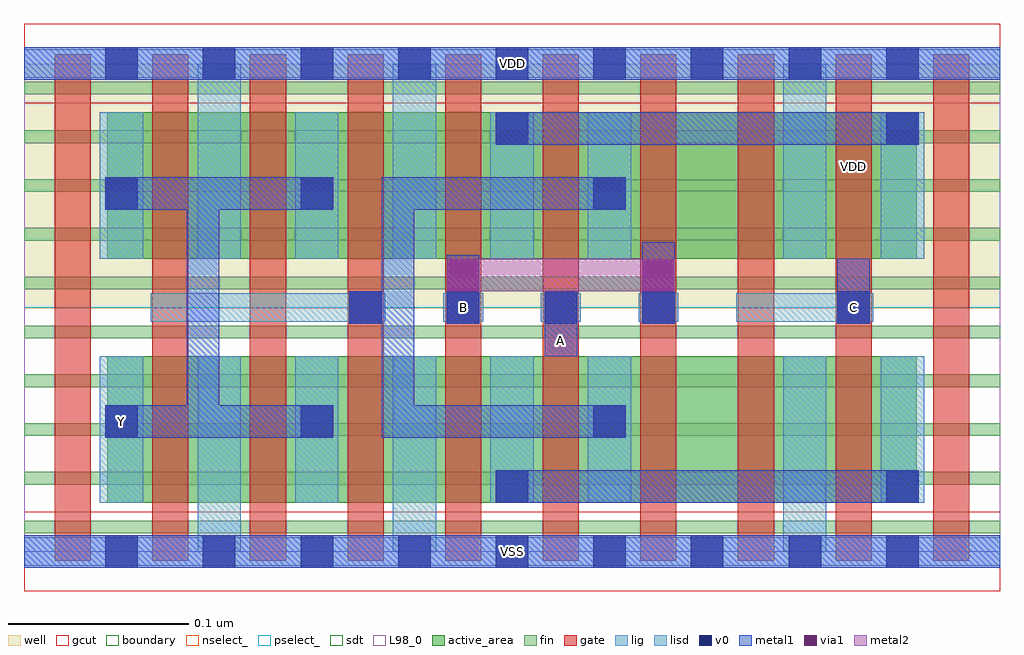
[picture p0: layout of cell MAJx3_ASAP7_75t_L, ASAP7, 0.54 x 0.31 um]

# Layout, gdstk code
import gdstk
lib = gdstk.Library(unit=1e-6, precision=2.5e-10)
def R(c, l, rs):  # rectangles x0, y0, x1, y1
    for r in rs: c.add(gdstk.rectangle(r[:2], r[2:], *l))
def A(c, l, x, y, w, h, nx, ny, dx, dy):  # array of equal rectangles
    R(c, l, [(x+i*dx, y+j*dy, x+i*dx+w, y+j*dy+h) for i in range(nx) for j in range(ny)])
def P(c, l, *ps):  # polygons
    for p in ps: c.add(gdstk.Polygon(p, *l))
well = (1, 0)
fin = (2, 0)
gate = (7, 0)
gcut = (10, 0)
active_area = (11, 0)
nselect_ = (12, 0)
pselect_ = (13, 0)
lig = (16, 0)
lisd = (17, 0)
v0 = (18, 0)
metal1 = (19, 0)
metal2 = (20, 0)
via1 = (21, 0)
sdt = (88, 0)
L98_0 = (98, 0)
boundary = (100, 0)

majx3_asap7_75t_l = lib.new_cell('MAJx3_ASAP7_75t_L')
R(majx3_asap7_75t_l, well, [(0,0.135,0.54,0.27)])
A(majx3_asap7_75t_l, fin, 0, 0.01, 0.54, 0.007, 1, 10, 0, 0.027)
A(majx3_asap7_75t_l, gate, 0.017, -0.005, 0.02, 0.28, 10, 1, 0.054, 0)
R(majx3_asap7_75t_l, gcut, [(0,-0.022,0.54,0.022), (0,0.248,0.54,0.292)])
R(majx3_asap7_75t_l, active_area, [(0.046,0.027,0.494,0.108), (0.046,0.162,0.494,0.243)])
R(majx3_asap7_75t_l, nselect_, [(0,0,0.54,0.135)])
R(majx3_asap7_75t_l, pselect_, [(0,0.135,0.54,0.27)])
A(majx3_asap7_75t_l, lig, 0.232, 0.127, 0.022, 0.016, 3, 1, 0.054, 0)
R(majx3_asap7_75t_l, lig, [(0,-0.008,0.54,0.008), (0.07,0.127,0.2,0.143), (0.394,0.127,0.47,0.143), (0,0.262,0.54,0.278)])
A(majx3_asap7_75t_l, lisd, 0.042, 0.027, 0.024, 0.081, 3, 2, 0.108, 0.135)
R(majx3_asap7_75t_l, lisd, [(0.096,0,0.12,0.108), (0.204,0,0.228,0.108), (0.42,0,0.444,0.108), (0.312,0.027,0.336,0.108), (0.474,0.027,0.498,0.108), (0.096,0.162,0.12,0.27), (0.204,0.162,0.228,0.27), (0.312,0.162,0.336,0.243), (0.42,0.162,0.444,0.27), (0.474,0.162,0.498,0.243)])
A(majx3_asap7_75t_l, v0, 0.045, -0.009, 0.018, 0.018, 9, 2, 0.054, 0.27)
A(majx3_asap7_75t_l, v0, 0.18, 0.126, 0.018, 0.018, 4, 1, 0.054, 0)
R(majx3_asap7_75t_l, v0, [(0.261,0.027,0.279,0.045), (0.477,0.027,0.495,0.045), (0.045,0.063,0.063,0.081), (0.153,0.063,0.171,0.081), (0.315,0.063,0.333,0.081), (0.45,0.126,0.468,0.144), (0.045,0.189,0.063,0.207), (0.153,0.189,0.171,0.207), (0.315,0.189,0.333,0.207), (0.261,0.225,0.279,0.243), (0.477,0.225,0.495,0.243)])
R(majx3_asap7_75t_l, metal1, [(0,-0.009,0.54,0.009), (0.261,0.027,0.495,0.045), (0.288,0.108,0.306,0.144), (0.234,0.126,0.252,0.164), (0.342,0.126,0.36,0.171), (0.45,0.126,0.468,0.162), (0.261,0.225,0.495,0.243), (0,0.261,0.54,0.279)])
P(majx3_asap7_75t_l, metal1, [(0.198,0.063),(0.198,0.126),(0.18,0.126),(0.18,0.144),(0.198,0.144),(0.198,0.207),(0.333,0.207),(0.333,0.189),(0.216,0.189),(0.216,0.081),(0.333,0.081),(0.333,0.063)],
  [(0.045,0.063),(0.045,0.081),(0.09,0.081),(0.09,0.189),(0.045,0.189),(0.045,0.207),(0.171,0.207),(0.171,0.189),(0.108,0.189),(0.108,0.081),(0.171,0.081),(0.171,0.063)])
R(majx3_asap7_75t_l, metal2, [(0.234,0.144,0.36,0.162)])
R(majx3_asap7_75t_l, via1, [(0.234,0.144,0.252,0.162), (0.342,0.144,0.36,0.162)])
A(majx3_asap7_75t_l, sdt, 0.042, 0.027, 0.024, 0.081, 6, 2, 0.054, 0.135)
R(majx3_asap7_75t_l, sdt, [(0.42,0.027,0.444,0.108), (0.474,0.027,0.498,0.108), (0.42,0.162,0.444,0.243), (0.474,0.162,0.498,0.243)])
R(majx3_asap7_75t_l, L98_0, [(0,0,0.54,0.27)])
R(majx3_asap7_75t_l, boundary, [(0,0,0.54,0.27)])
majx3_asap7_75t_l.add(gdstk.Label('Y', (0.054,0.072), layer=19, texttype=251))
majx3_asap7_75t_l.add(gdstk.Label('C', (0.459,0.135), layer=19, texttype=251))
majx3_asap7_75t_l.add(gdstk.Label('B', (0.243,0.135), layer=19, texttype=251))
majx3_asap7_75t_l.add(gdstk.Label('A', (0.297,0.117), layer=19, texttype=251))
majx3_asap7_75t_l.add(gdstk.Label('VSS', (0.27,0), layer=19, texttype=251))
majx3_asap7_75t_l.add(gdstk.Label('VDD', (0.27,0.27), layer=19, texttype=251))
majx3_asap7_75t_l.add(gdstk.Label('VDD', (0.459,0.213), layer=1, texttype=251))
majx3_asap7_75t_l.add(gdstk.Label('VSS', (0.621,0.213), layer=3, texttype=251))

lib.write_gds('MAJx3_ASAP7_75t_L.gds')
